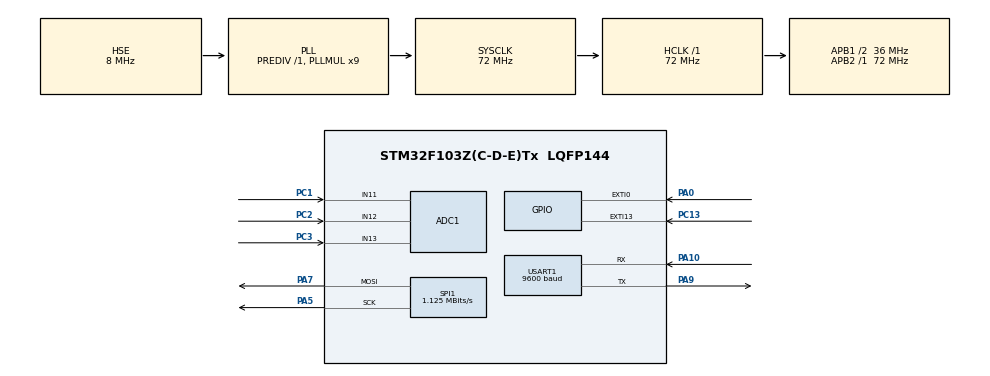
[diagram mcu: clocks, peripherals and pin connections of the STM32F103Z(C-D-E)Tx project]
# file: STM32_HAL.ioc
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ADC1.Channel-2\#ChannelRegularConversion=ADC_CHANNEL_11
ADC1.Channel-3\#ChannelRegularConversion=ADC_CHANNEL_12
ADC1.Channel-4\#ChannelRegularConversion=ADC_CHANNEL_13
ADC1.DiscontinuousConvMode=ENABLE
ADC1.NbrOfConversion=3
ADC1.NbrOfConversionFlag=1
ADC1.Rank-2\#ChannelRegularConversion=1
ADC1.Rank-3\#ChannelRegularConversion=2
ADC1.Rank-4\#ChannelRegularConversion=3
ADC1.SamplingTime-2\#ChannelRegularConversion=ADC_SAMPLETIME_1CYCLE_5
ADC1.SamplingTime-3\#ChannelRegularConversion=ADC_SAMPLETIME_1CYCLE_5
ADC1.SamplingTime-4\#ChannelRegularConversion=ADC_SAMPLETIME_1CYCLE_5
ADC1.master=1
Mcu.Family=STM32F1
Mcu.Name=STM32F103Z(C-D-E)Tx
Mcu.Package=LQFP144
NVIC.ADC1_2_IRQn=true\:2\:0\:true\:false\:true\:true\:true\:true
NVIC.EXTI0_IRQn=true\:7\:0\:true\:false\:true\:true\:true\:true
NVIC.EXTI15_10_IRQn=true\:8\:0\:true\:false\:true\:true\:true\:true
NVIC.PriorityGroup=NVIC_PRIORITYGROUP_4
NVIC.USART1_IRQn=true\:5\:0\:true\:false\:true\:true\:true\:true
OSC_IN.Mode=HSE-External-Oscillator
OSC_IN.Signal=RCC_OSC_IN
OSC_OUT.Mode=HSE-External-Oscillator
OSC_OUT.Signal=RCC_OSC_OUT
PA0-WKUP.GPIO_PuPd=GPIO_PULLUP
PA0-WKUP.Signal=GPXTI0
PA10.Mode=Asynchronous
PA10.Signal=USART1_RX
PA13.Mode=JTAG_5_pins
PA13.Signal=SYS_JTMS-SWDIO
PA14.Mode=JTAG_5_pins
PA14.Signal=SYS_JTCK-SWCLK
PA15.Mode=JTAG_5_pins
PA15.Signal=SYS_JTDI
PA5.Mode=TX_Only_Simplex_Unidirect_Master
PA5.Signal=SPI1_SCK
PA7.Mode=TX_Only_Simplex_Unidirect_Master
PA7.Signal=SPI1_MOSI
PA9.Mode=Asynchronous
PA9.Signal=USART1_TX
PB3.Mode=JTAG_5_pins
PB3.Signal=SYS_JTDO-TRACESWO
PB4.Mode=JTAG_5_pins
PB4.Signal=SYS_NJTRST
PC1.Signal=ADCx_IN11
PC13-TAMPER-RTC.GPIO_PuPd=GPIO_PULLUP
PC13-TAMPER-RTC.Signal=GPXTI13
PC14-OSC32_IN.Mode=LSE-External-Oscillator
PC14-OSC32_IN.Signal=RCC_OSC32_IN
PC15-OSC32_OUT.Mode=LSE-External-Oscillator
PC15-OSC32_OUT.Signal=RCC_OSC32_OUT
PC2.Signal=ADCx_IN12
PC3.Signal=ADCx_IN13
ProjectManager.HeapSize=0x200
ProjectManager.StackSize=0x400
ProjectManager.TargetToolchain=CMake
RCC.ADCPresc=RCC_ADCPCLK2_DIV6
RCC.AHBFreq_Value=72000000
RCC.APB1CLKDivider=RCC_HCLK_DIV2
RCC.APB1Freq_Value=36000000
RCC.APB1TimFreq_Value=72000000
RCC.APB2Freq_Value=72000000
RCC.APB2TimFreq_Value=72000000
RCC.HCLKFreq_Value=72000000
RCC.PLLMUL=RCC_PLL_MUL9
RCC.PLLSourceVirtual=RCC_PLLSOURCE_HSE
RCC.SYSCLKFreq_VALUE=72000000
RCC.SYSCLKSource=RCC_SYSCLKSOURCE_PLLCLK
RCC.USBFreq_Value=72000000
SH.ADCx_IN11.0=ADC1_IN11,IN11
SH.ADCx_IN12.0=ADC1_IN12,IN12
SH.ADCx_IN13.0=ADC1_IN13,IN13
SPI1.BaudRatePrescaler=SPI_BAUDRATEPRESCALER_64
SPI1.CRCCalculation=SPI_CRCCALCULATION_DISABLE
SPI1.CalculateBaudRate=1.125 MBits/s
SPI1.DataSize=SPI_DATASIZE_8BIT
SPI1.Direction=SPI_DIRECTION_2LINES
SPI1.Mode=SPI_MODE_MASTER
SPI1.VirtualType=VM_MASTER
USART1.BaudRate=9600
USART1.VirtualMode=VM_ASYNC
board=custom

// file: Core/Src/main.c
/* USER CODE BEGIN Header */
/**
  ******************************************************************************
  * @file           : main.c
  * @brief          : Main program body
  ******************************************************************************
  * @attention
  *
  * Copyright (c) 2024 STMicroelectronics.
  * All rights reserved.
  *
  * This software is licensed under terms that can be found in the LICENSE file
  * in the root directory of this software component.
  * If no LICENSE file comes with this software, it is provided AS-IS.
  *
  ******************************************************************************
  */
/* USER CODE END Header */
#include "main.h"
#include "adc.h"
#include "spi.h"
#include "usart.h"
#include "gpio.h"

/* USER CODE BEGIN Includes */

#include <string.h>
#include <stdio.h>

#include "max7219.h"

/* USER CODE END Includes */

/* USER CODE BEGIN PV */
extern UART_HandleTypeDef huart1;
/* USER CODE END PV */

void SystemClock_Config(void);

/* USER CODE BEGIN 0 */

int __io_putchar(int ch)
{
  HAL_UART_Transmit(&huart1, (uint8_t*)&ch, 1, HAL_MAX_DELAY);
  return 0;
}

uint32_t count = 0;

/* USER CODE END 0 */

int main(void)
{

  /* MCU Configuration--------------------------------------------------------*/

  /* Reset of all peripherals, Initializes the Flash interface and the Systick. */
  HAL_Init();

  /* Configure the system clock */
  SystemClock_Config();

  /* Initialize all configured peripherals */
  MX_GPIO_Init();
  MX_USART1_UART_Init();
  MX_ADC1_Init();
  MX_SPI1_Init();
  /* USER CODE BEGIN 2 */

  __HAL_RCC_GPIOB_CLK_ENABLE();
  GPIO_InitTypeDef ledGPIO;
  ledGPIO.Mode = GPIO_MODE_OUTPUT_PP;
  ledGPIO.Pin = GPIO_PIN_0;
  ledGPIO.Pull = GPIO_NOPULL;
  ledGPIO.Speed = GPIO_SPEED_HIGH;
  HAL_GPIO_Init(GPIOB, &ledGPIO);

  ledGPIO.Pin = GPIO_PIN_5;
  HAL_GPIO_Init(GPIOB, &ledGPIO);
  HAL_GPIO_WritePin(GPIOB, GPIO_PIN_5, GPIO_PIN_SET);

  ledGPIO.Pin = GPIO_PIN_1;
  HAL_GPIO_Init(GPIOB, &ledGPIO);
  HAL_GPIO_WritePin(GPIOB, GPIO_PIN_1, GPIO_PIN_SET);

  printf("hello world\r\n");

  max7219Init(0xff);

  // ADC校正
  if (HAL_ADCEx_Calibration_Start(&hadc1) == HAL_ERROR) {
    printf("ADC calibrate failed\r\n");
  } else {
    printf("ADC calibrate success!\r\n");
  }

  /* USER CODE END 2 */

  /* Infinite loop */
  /* USER CODE BEGIN WHILE */
  while (1)
  {
    // HAL_ADC_Start_IT(&hadc1);
    static int localCount = 0;

    /* printf("begin adc convert\r\n");

    HAL_ADC_Start(&hadc1);
    HAL_ADC_PollForConversion(&hadc1, 100);
    if (HAL_IS_BIT_SET(HAL_ADC_GetState(&hadc1), HAL_ADC_STATE_REG_EOC)) {
      printf("convert done!");
      uint32_t adcVal = HAL_ADC_GetValue(&hadc1);
      double voltage = (3.3 * adcVal) / 4096;

      printf("adc val is %lu\r\n", adcVal);
      printf("voltage is [%.2f]\r\n", voltage);
    } else {
      printf("adc convert failed\r\n");
    }
    printf("end adc convert\r\n"); */

    // HAL_GPIO_TogglePin(GPIOB, GPIO_PIN_0);

    if (localCount != count) {
      led_printf("%08d", count);
      localCount = count;
    };

    /* USER CODE END WHILE */

  }
}

void SystemClock_Config(void)
{
  RCC_OscInitTypeDef RCC_OscInitStruct = {0};
  RCC_ClkInitTypeDef RCC_ClkInitStruct = {0};
  RCC_PeriphCLKInitTypeDef PeriphClkInit = {0};

  /** Initializes the RCC Oscillators according to the specified parameters
  * in the RCC_OscInitTypeDef structure.
  */
  RCC_OscInitStruct.OscillatorType = RCC_OSCILLATORTYPE_HSE;
  RCC_OscInitStruct.HSEState = RCC_HSE_ON;
  RCC_OscInitStruct.HSEPredivValue = RCC_HSE_PREDIV_DIV1;
  RCC_OscInitStruct.HSIState = RCC_HSI_ON;
  RCC_OscInitStruct.PLL.PLLState = RCC_PLL_ON;
  RCC_OscInitStruct.PLL.PLLSource = RCC_PLLSOURCE_HSE;
  RCC_OscInitStruct.PLL.PLLMUL = RCC_PLL_MUL9;
  if (HAL_RCC_OscConfig(&RCC_OscInitStruct) != HAL_OK)
  {
    Error_Handler();
  }

  /** Initializes the CPU, AHB and APB buses clocks
  */
  RCC_ClkInitStruct.ClockType = RCC_CLOCKTYPE_HCLK|RCC_CLOCKTYPE_SYSCLK
                              |RCC_CLOCKTYPE_PCLK1|RCC_CLOCKTYPE_PCLK2;
  RCC_ClkInitStruct.SYSCLKSource = RCC_SYSCLKSOURCE_PLLCLK;
  RCC_ClkInitStruct.AHBCLKDivider = RCC_SYSCLK_DIV1;
  RCC_ClkInitStruct.APB1CLKDivider = RCC_HCLK_DIV2;
  RCC_ClkInitStruct.APB2CLKDivider = RCC_HCLK_DIV1;

  if (HAL_RCC_ClockConfig(&RCC_ClkInitStruct, FLASH_LATENCY_2) != HAL_OK)
  {
    Error_Handler();
  }
  PeriphClkInit.PeriphClockSelection = RCC_PERIPHCLK_ADC;
  PeriphClkInit.AdcClockSelection = RCC_ADCPCLK2_DIV6;
  if (HAL_RCCEx_PeriphCLKConfig(&PeriphClkInit) != HAL_OK)
  {
    Error_Handler();
  }
}

void Error_Handler(void)
{
  __disable_irq();
  while (1)
  {
  }
}
